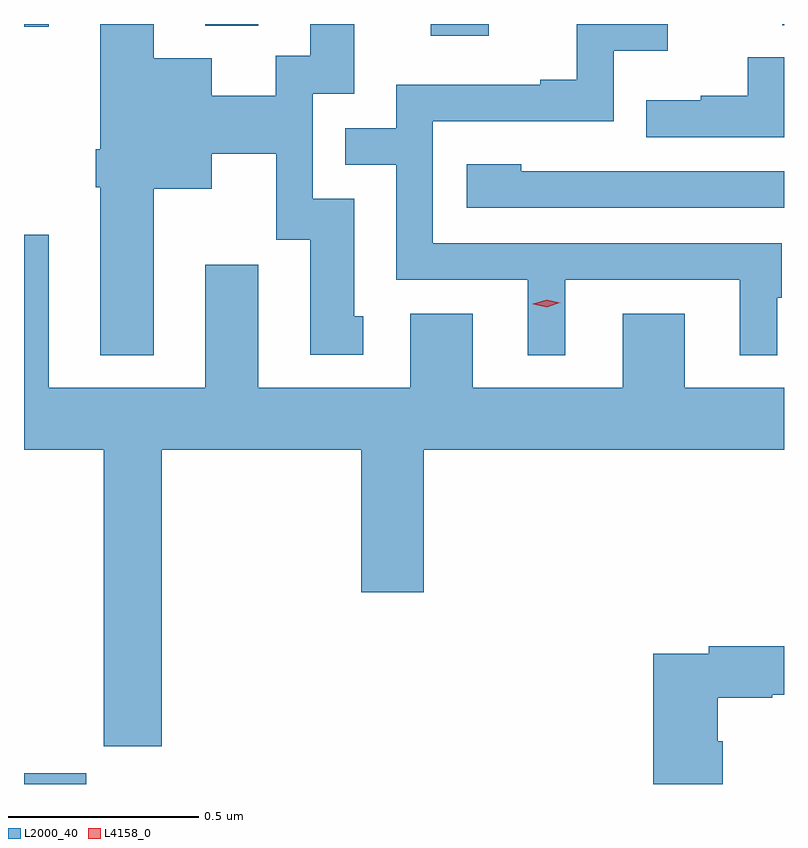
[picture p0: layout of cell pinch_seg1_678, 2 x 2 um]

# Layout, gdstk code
import gdstk
lib = gdstk.Library(unit=1e-6, precision=1e-09)
def R(c, l, rs):  # rectangles x0, y0, x1, y1
    for r in rs: c.add(gdstk.rectangle(r[:2], r[2:], *l))
def P(c, l, *ps):  # polygons
    for p in ps: c.add(gdstk.Polygon(p, *l))
L2000_40 = (2000, 40)
L4158_0 = (4158, 0)

pinch_seg1_678 = lib.new_cell('pinch_seg1_678')
R(pinch_seg1_678, L2000_40, [(823.46,580.157,823.624,580.185), (824.531,582.126,824.683,582.157), (823.46,582.15,823.525,582.157), (823.937,582.152,824.077,582.157), (825.456,582.154,825.46,582.157)])
P(pinch_seg1_678, L2000_40, [(823.801,581.723),(823.954,581.723),(823.954,581.816),(824.124,581.816),(824.124,581.589),(824.213,581.589),(824.213,581.286),(824.353,581.286),(824.353,581.388),(824.329,581.388),(824.329,581.697),(824.22,581.697),(824.22,581.973),(824.329,581.973),(824.329,582.157),(824.213,582.157),(824.213,582.074),(824.123,582.074),(824.123,581.968),(823.954,581.968),(823.954,582.067),(823.801,582.067),(823.801,582.157),(823.661,582.157),(823.661,581.827),(823.649,581.827),(823.649,581.727),(823.661,581.727),(823.661,581.285),(823.801,581.285)],
  [(824.884,581.484),(825.344,581.484),(825.344,581.285),(825.442,581.285),(825.442,581.436),(825.454,581.436),(825.454,581.58),(824.535,581.58),(824.535,581.901),(825.012,581.901),(825.012,582.086),(825.154,582.086),(825.154,582.157),(824.914,582.157),(824.914,582.01),(824.819,582.01),(824.819,581.997),(824.439,581.997),(824.439,581.883),(824.305,581.883),(824.305,581.787),(824.439,581.787),(824.439,581.484),(824.786,581.484),(824.786,581.285),(824.884,581.285)],
  [(825.46,582.069),(825.365,582.069),(825.365,581.968),(825.241,581.968),(825.241,581.956),(825.097,581.956),(825.097,581.859),(825.46,581.859)],
  [(825.46,581.769),(825.005,581.769),(825.005,581.77),(824.769,581.77),(824.769,581.788),(824.625,581.788),(824.625,581.673),(825.46,581.673)],
  [(823.823,581.036),(824.348,581.036),(824.348,580.662),(824.512,580.662),(824.512,581.036),(825.46,581.036),(825.46,581.2),(825.199,581.2),(825.199,581.395),(825.035,581.395),(825.035,581.2),(824.641,581.2),(824.641,581.395),(824.477,581.395),(824.477,581.2),(824.077,581.2),(824.077,581.524),(823.937,581.524),(823.937,581.2),(823.525,581.2),(823.525,581.602),(823.46,581.602),(823.46,581.036),(823.67,581.036),(823.67,580.257),(823.823,580.257)],
  [(825.299,580.269),(825.286,580.269),(825.286,580.384),(825.429,580.384),(825.429,580.392),(825.46,580.392),(825.46,580.52),(825.262,580.52),(825.262,580.5),(825.116,580.5),(825.116,580.157),(825.299,580.157)])
P(pinch_seg1_678, L4158_0, [(824.835,581.412),(824.8,581.42),(824.799,581.421),(824.8,581.421),(824.835,581.432),(824.87,581.423),(824.871,581.423),(824.87,581.423)])

lib.write_gds('pinch_seg1_678.gds')
